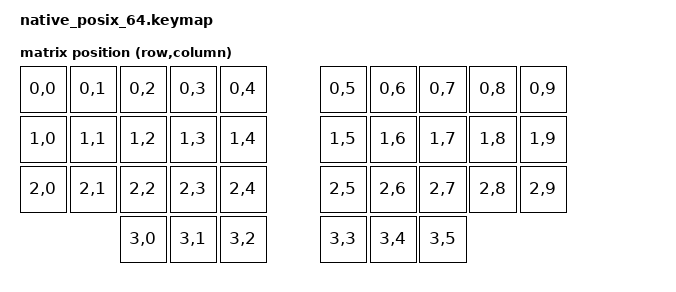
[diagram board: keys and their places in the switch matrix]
#include <dt-bindings/zmk/matrix_transform.h>
#include <dt-bindings/zmk/kscan_mock.h>

/ {
    chosen {
        zmk,matrix-transform = &transform;
    };

    /* op36 position N is RC(N/10, N%10); thumbs 30..35 are row 3. */
    transform: keymap_transform {
        compatible = "zmk,matrix-transform";
        columns = <10>;
        rows = <4>;
        map = <
            RC(0,0) RC(0,1) RC(0,2) RC(0,3) RC(0,4) RC(0,5) RC(0,6) RC(0,7) RC(0,8) RC(0,9)
            RC(1,0) RC(1,1) RC(1,2) RC(1,3) RC(1,4) RC(1,5) RC(1,6) RC(1,7) RC(1,8) RC(1,9)
            RC(2,0) RC(2,1) RC(2,2) RC(2,3) RC(2,4) RC(2,5) RC(2,6) RC(2,7) RC(2,8) RC(2,9)
            RC(3,0) RC(3,1) RC(3,2) RC(3,3) RC(3,4) RC(3,5)
        >;
    };
};

&kscan {
    rows = <4>;
    columns = <10>;
    events = <
        /* lead-in so require-prior-idle-ms sees real idle time */
        ZMK_MOCK_PRESS(0,1,10)
        ZMK_MOCK_RELEASE(0,1,400)

        /* right Cmd (N, pos 16) then left Space (pos 31) */
        ZMK_MOCK_PRESS(1,6,20)
        ZMK_MOCK_PRESS(3,1,30)
        ZMK_MOCK_RELEASE(3,1,20)
        ZMK_MOCK_RELEASE(1,6,100)
    >;
};

#include "/cfg/op36_ruen.keymap"
